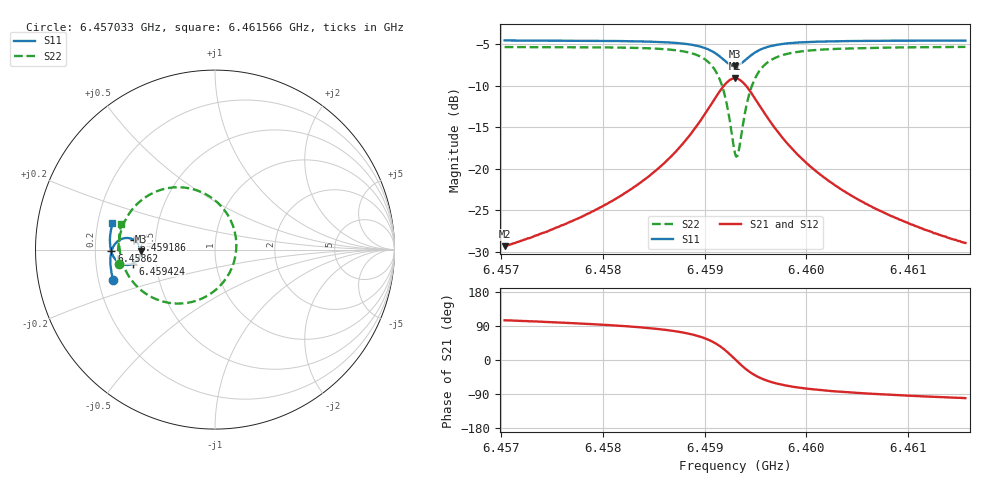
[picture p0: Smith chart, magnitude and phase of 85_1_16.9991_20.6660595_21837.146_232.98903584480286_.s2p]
#  HZ  S  RI  R  50.00
! Rohde & Schwarz Vector Network Analyzer
! Rohde-Schwarz,ZNB20-2Port,1311601062101988,3.16
! Created: UTC 3/20/2024, 10:55:53 PM
! freq[Hz]  re:S11  im:S11  re:S21  im:S21  re:S12  im:S12  re:S22  im:S22
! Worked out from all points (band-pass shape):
!   401 points, 6.457033 GHz to 6.461566 GHz, reference 50 ohm
!   highest |S21| = -9.11 dB at 6.4593 GHz (marker M1); lowest = -29.3 dB at 6.457033 GHz (marker M2)
!   |S21| within 3 dB of the highest: 6.459073 GHz to 6.459526 GHz (453.2 kHz wide, 0.00702 % of centre)
!   lowest |S11| = -7.6 dB at 6.4593 GHz (marker M3), VSWR 2.42, Z = 20.7 - j0.528 ohm
!   |S11| at or under -10 dB: nowhere
!   |S22| runs from -18.5 to -5.3 dB; largest |S21 - S12| = 0.014
!   S11 on the Smith chart (normalised r, x): 6.457033 GHz: 0.26, -0.14; 6.45862 GHz: 0.27, -0.01; 6.459186 GHz: 0.38, +0.05; 6.459424 GHz: 0.37, -0.07; 6.461566 GHz: 0.26, +0.12
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6.4570332e9  -0.5673 -0.1692  -0.00868 0.033  -0.00694 0.0329  -0.5344 -0.079
6.4577925e9  -0.5809 -0.1026  -0.00522 0.0511  -0.00273 0.0505  -0.5388 0.0108
6.4582118e9  -0.5835 -0.0603  0.000825 0.0709  0.00404 0.0694  -0.5299 0.0781
6.4585518e9  -0.5795 -0.0192  0.0149 0.1001  0.0189 0.0973  -0.5035 0.1557
6.4586198e9  -0.5771 -0.00972  0.0204 0.1086  0.0244 0.1053  -0.4933 0.1759
6.4588125e9  -0.5643 0.0208  0.0474 0.1398  0.0514 0.1348  -0.4425 0.2452
6.4589598e9  -0.5412 0.0472  0.0935 0.1704  0.0966 0.1638  -0.3575 0.3096
6.4590958e9  -0.4967 0.0647  0.1821 0.187  0.1829 0.1795  -0.196 0.3472
6.4591864e9  -0.4512 0.0539  0.2731 0.1547  0.2733 0.1488  -0.0278 0.2946
6.4592544e9  -0.4219 0.0211  0.334 0.0813  0.3362 0.0761  0.0877 0.1622
6.4592998e9  -0.415 -0.0106  0.3501 0.0124  0.3538 0.00551  0.1191 0.0334
6.4593111e9  -0.4155 -0.0188  0.3496 -0.0055  0.3537 -0.0132  0.1182 -0.000649
6.4593338e9  -0.4191 -0.0347  0.3439 -0.0406  0.3478 -0.0499  0.1063 -0.0671
6.4593791e9  -0.435 -0.0612  0.3146 -0.101  0.3167 -0.1131  0.0466 -0.1809
6.4594244e9  -0.4574 -0.0777  0.2717 -0.1424  0.2708 -0.1557  -0.0398 -0.2557
6.4595151e9  -0.5014 -0.0848  0.1856 -0.1733  0.1795 -0.1849  -0.2109 -0.3006
6.4596624e9  -0.5459 -0.0643  0.097 -0.1589  0.0884 -0.1651  -0.3795 -0.2496
6.4598211e9  -0.5678 -0.0366  0.0518 -0.1304  0.044 -0.1333  -0.4601 -0.1766
6.4600591e9  -0.5806 -0.00104  0.0223 -0.0985  0.0166 -0.099  -0.5081 -0.0935
6.4603877e9  -0.5854 0.0385  0.0065 -0.072  0.00239 -0.0715  -0.529 -0.0162
6.4608184e9  -0.5837 0.0821  -0.00145 -0.0525  -0.00427 -0.0516  -0.5335 0.054
6.4615664e9  -0.5719 0.1486  -0.00663 -0.0351  -0.00826 -0.034  -0.5222 0.1432
